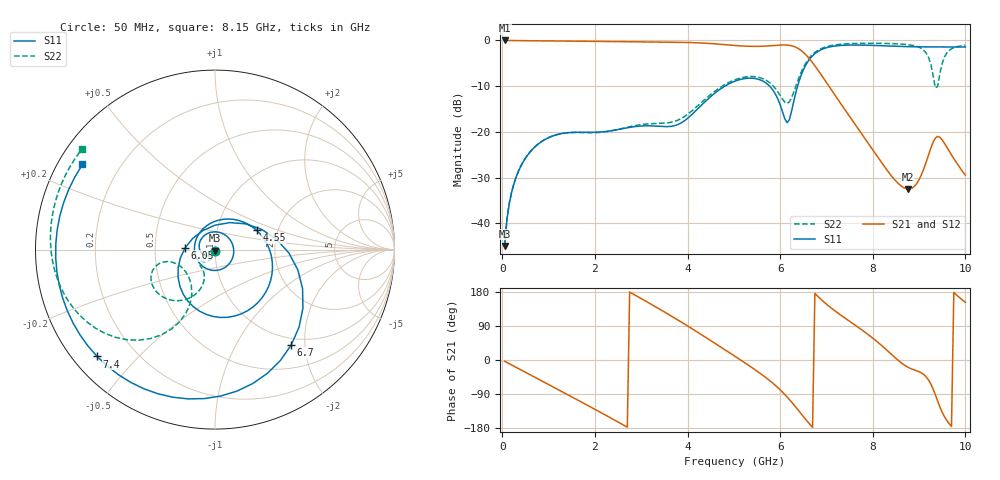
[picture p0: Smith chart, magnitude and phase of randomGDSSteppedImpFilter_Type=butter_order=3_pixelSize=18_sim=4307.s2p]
! freq	dB(S11)	phase(S11)	dB(S12)	phase(S12)
!  dB(S21)	phase(S21)	dB(S22)	phase(S22)
!S-par simulation data
#  GHz  S  DB  R 50
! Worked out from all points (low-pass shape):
!   200 points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, 50 MHz to 10 GHz, reference 50 ohm
!   highest |S21| = -0.01 dB at 50 MHz (marker M1); lowest = -32.5 dB at 8.75 GHz (marker M2)
!   |S21| within 3 dB of the highest: start of sweep to 6.542 GHz
!   lowest |S11| = -45.0 dB at 50 MHz (marker M3), VSWR 1.01, Z = 50 - j0.563 ohm
!   |S11| at or under -10 dB: start of sweep to 4.805 GHz; 5.771 GHz to 6.377 GHz (606.3 MHz wide, 9.98 % of centre)
!   |S22| runs from -45.0 to -0.6 dB; largest |S21 - S12| = 0
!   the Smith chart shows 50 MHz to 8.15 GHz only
!   S11 on the Smith chart (normalised r, x): 50 MHz: 1.00, -0.01; 4.55 GHz: 1.55, +0.36; 6.05 GHz: 0.71, +0.01; 6.7 GHz: 0.88, -1.73; 7.4 GHz: 0.07, -0.38; 8.15 GHz: 0.07, +0.29
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0.05  -45.00 -89.4  -0.01 -3.3  -0.01 -3.3  -45.01 -86.4
0.2  -33.29 -106.6  -0.03 -13.0  -0.03 -13.0  -33.22 -97.0
0.5  -25.78 -134.8  -0.06 -32.4  -0.06 -32.4  -25.71 -110.2
1.75  -20.09 93.3  -0.18 -113.6  -0.18 -113.6  -20.16 -141.7
2.6  -19.30 -25.6  -0.26 -170.4  -0.26 -170.4  -19.22 -134.4
3.4  -18.80 -140.1  -0.35 134.0  -0.35 134.0  -18.15 -130.1
4.55  -11.85 24.9  -0.72 47.3  -0.72 47.3  -11.43 -113.3
5.05  -8.82 -34.6  -1.12 7.7  -1.12 7.7  -8.51 -131.8
5.55  -8.56 -91.3  -1.30 -33.6  -1.30 -33.6  -8.11 -155.2
6.05  -15.57 176.6  -0.99 -84.6  -0.99 -84.6  -12.83 -159.7
6.35  -10.96 23.5  -1.55 -126.2  -1.55 -126.2  -9.66 -114.8
6.7  -3.35 -51.3  -4.87 -177.7  -4.87 -177.7  -3.07 -134.3
7  -1.60 -94.1  -9.21 147.3  -9.21 147.3  -1.37 -157.7
7.4  -1.05 -137.8  -15.17 110.5  -15.17 110.5  -0.76 178.4
8.15  -1.14 147.3  -26.14 42.6  -26.14 42.6  -0.64 142.8
8.35  -1.22 125.5  -28.95 21.0  -28.95 21.0  -0.68 133.3
8.75  -1.36 78.6  -32.51 -18.5  -32.51 -18.5  -0.92 110.5
9.05  -1.41 42.1  -29.40 -34.0  -29.40 -34.0  -1.76 81.3
9.25  -1.42 18.3  -23.67 -62.4  -23.67 -62.4  -5.10 32.0
9.4  -1.45 1.3  -21.01 -108.2  -21.01 -108.2  -10.11 -103.1
9.6  -1.45 -19.9  -23.39 -159.9  -23.39 -159.9  -2.73 157.7
10  -1.44 -57.9  -29.44 152.2  -29.44 152.2  -1.08 110.3
